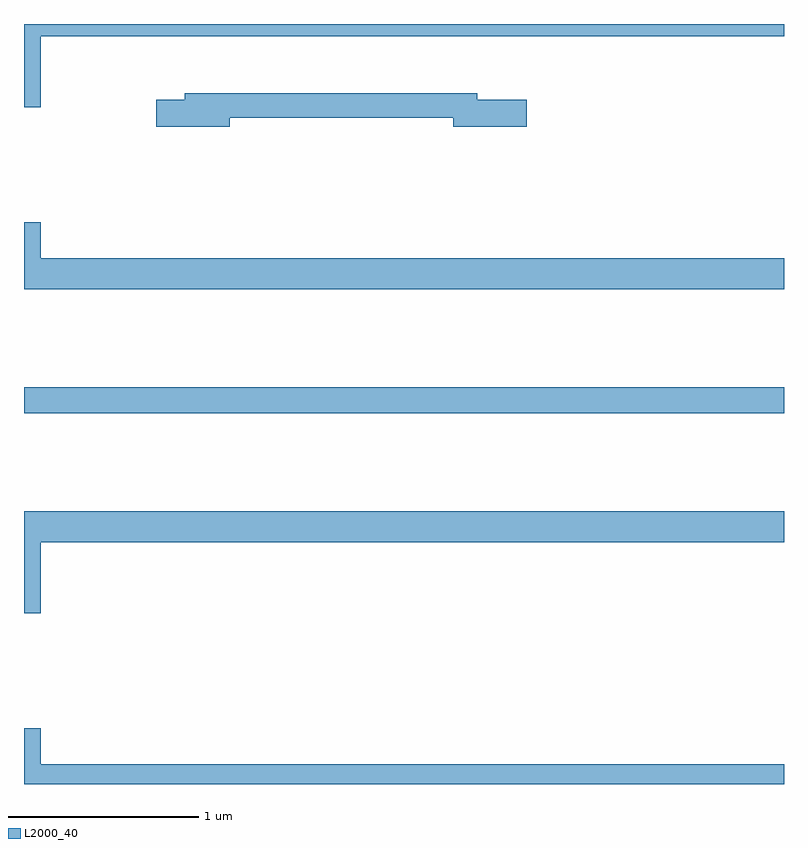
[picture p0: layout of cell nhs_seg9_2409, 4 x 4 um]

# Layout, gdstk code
import gdstk
lib = gdstk.Library(unit=1e-6, precision=1e-09)
def R(c, l, rs):  # rectangles x0, y0, x1, y1
    for r in rs: c.add(gdstk.rectangle(r[:2], r[2:], *l))
def P(c, l, *ps):  # polygons
    for p in ps: c.add(gdstk.Polygon(p, *l))
L2000_40 = (2000, 40)

nhs_seg9_2409 = lib.new_cell('nhs_seg9_2409')
R(nhs_seg9_2409, L2000_40, [(249,1178.452,253,1178.588)])
P(nhs_seg9_2409, L2000_40, [(249.088,1180.436),(253,1180.436),(253,1180.5),(249,1180.5),(249,1180.062),(249.088,1180.062)],
  [(250.084,1180.006),(251.258,1180.006),(251.258,1179.959),(251.647,1179.959),(251.647,1180.101),(251.386,1180.101),(251.386,1180.135),(249.845,1180.135),(249.845,1180.101),(249.696,1180.101),(249.696,1179.959),(250.084,1179.959)],
  [(253,1179.268),(249.088,1179.268),(249.088,1179.457),(249,1179.457),(249,1179.104),(253,1179.104)],
  [(249.088,1177.772),(253,1177.772),(253,1177.936),(249,1177.936),(249,1177.398),(249.088,1177.398)],
  [(249.088,1176.793),(249,1176.793),(249,1176.5),(253,1176.5),(253,1176.604),(249.088,1176.604)])

lib.write_gds('nhs_seg9_2409.gds')
